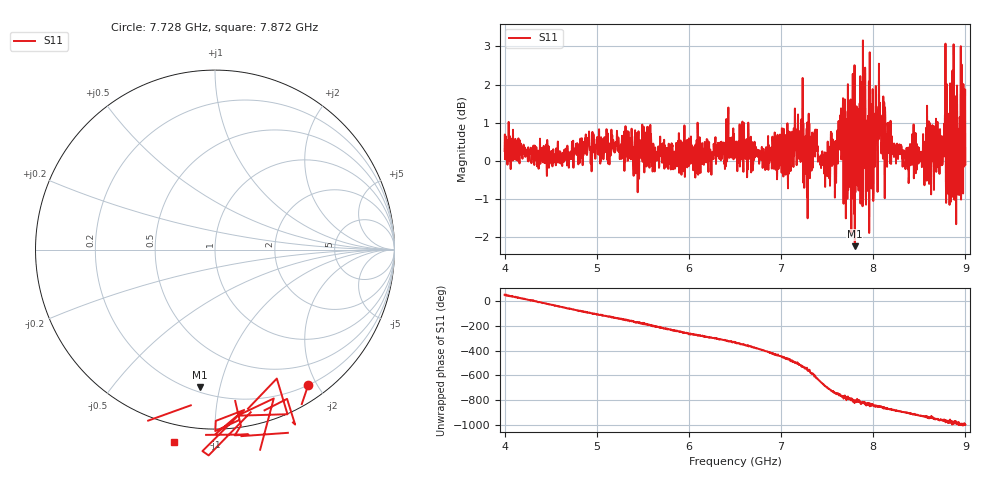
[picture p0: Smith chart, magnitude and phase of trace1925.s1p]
! Created with skrf 1.8.0 (http://scikit-rf.org).
# Hz S RI R 50.0
!freq ReS11 ImS11
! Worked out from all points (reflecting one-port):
!   1601 points, 4 GHz to 9 GHz, reference 50 ohm
!   lowest |S11| = -2.3 dB at 7.8 GHz (marker M1), VSWR 7.76, Z = 11.4 - j43.4 ohm
!   phase of S11 starts at 52 deg and turns -1049 deg over the sweep
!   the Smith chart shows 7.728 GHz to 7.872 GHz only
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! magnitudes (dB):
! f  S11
! 4 GHz  0.3
! 4.625 GHz  -0.1
! 5.25 GHz  0.0
! 5.875 GHz  0.2
! 6.5 GHz  0.2
! 6.819 GHz  0.0
! 7.125 GHz  0.3
! 7.209 GHz  0.8
! 7.262 GHz  0.3
! 7.372 GHz  0.8
! 7.509 GHz  -0.3
! 7.672 GHz  1.6
! 7.75 GHz  0.6
! 7.784 GHz  0.4
! 7.8 GHz  -2.3
! 7.825 GHz  0.8
! 7.891 GHz  0.4
! 7.934 GHz  -0.8
! 7.969 GHz  1.2
! 7.981 GHz  -0.7
! 8.05 GHz  0.8
! 8.375 GHz  0.0
! 8.425 GHz  0.5
! 8.575 GHz  0.9
! 8.788 GHz  -0.5
! 8.844 GHz  -1.1
! 8.972 GHz  0.6
! 9 GHz  -0.1
